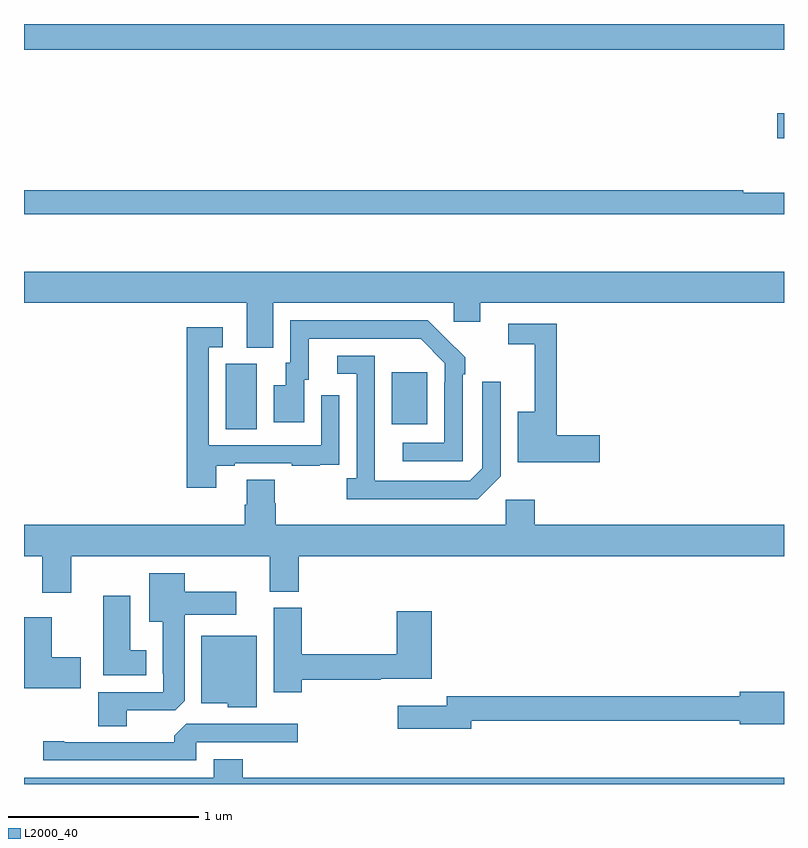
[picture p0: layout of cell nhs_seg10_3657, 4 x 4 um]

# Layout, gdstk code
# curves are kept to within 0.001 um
import gdstk
lib = gdstk.Library(unit=1e-6, precision=1e-09)
def R(c, l, rs):  # rectangles x0, y0, x1, y1
    for r in rs: c.add(gdstk.rectangle(r[:2], r[2:], *l))
def P(c, l, *ps):  # polygons
    for p in ps: c.add(gdstk.Polygon(p, *l))
L2000_40 = (2000, 40)

nhs_seg10_3657 = lib.new_cell('nhs_seg10_3657')
R(nhs_seg10_3657, L2000_40, [(312.062,1250.368,312.226,1250.712), (312.935,1250.393,313.123,1250.668), (314.964,1251.899,315,1252.029), (311,1252.364,315,1252.5)])
P(nhs_seg10_3657, L2000_40, [(315,1251.611),(314.786,1251.611),(314.786,1251.626),(311,1251.626),(311,1251.498),(315,1251.498)],
  [(312.313,1251.032),(313.263,1251.032),(313.263,1250.934),(313.402,1250.934),(313.402,1251.032),(315,1251.032),(315,1251.196),(311,1251.196),(311,1251.032),(312.173,1251.032),(312.173,1250.797),(312.313,1250.797)],
  [(313.308,1250.657),(313.323,1250.657),(313.323,1250.745),(313.126,1250.94),(312.402,1250.94),(312.402,1250.718),(312.377,1250.718),(312.377,1250.599),(312.314,1250.599),(312.314,1250.403),(312.475,1250.403),(312.475,1250.628),(312.499,1250.628),(312.499,1250.844),(313.087,1250.844),(313.215,1250.715),(313.215,1250.615),(313.212,1250.615),(313.212,1250.295),(312.993,1250.295),(312.993,1250.199),(313.308,1250.199)],
  [(314.029,1250.336),(313.805,1250.336),(313.805,1250.922),(313.548,1250.922),(313.548,1250.814),(313.688,1250.814),(313.688,1250.458),(313.598,1250.458),(313.598,1250.194),(314.029,1250.194)],
  [(312.013,1250.175),(312.109,1250.175),(312.109,1250.187),(312.409,1250.187),(312.409,1250.175),(312.557,1250.175),(312.557,1250.181),(312.659,1250.181),(312.659,1250.29),(312.66,1250.29),(312.66,1250.545),(312.564,1250.545),(312.564,1250.283),(311.973,1250.283),(311.973,1250.799),(312.046,1250.799),(312.046,1250.905),(311.857,1250.905),(311.857,1250.058),(312.013,1250.058)],
  [(313.509,1250.121),(313.509,1250.617),(313.413,1250.617),(313.413,1250.163),(313.347,1250.097),(312.847,1250.097),(312.846,1250.754),(312.648,1250.754),(312.648,1250.658),(312.75,1250.658),(312.75,1250.11),(312.699,1250.11),(312.699,1250),(313.388,1250)],
  [(311.248,1249.7),(312.293,1249.7),(312.293,1249.513),(312.446,1249.513),(312.446,1249.7),(315,1249.7),(315,1249.864),(313.688,1249.864),(313.688,1249.996),(313.536,1249.996),(313.536,1249.864),(312.326,1249.864),(312.326,1249.977),(312.321,1249.977),(312.321,1250.102),(312.173,1250.102),(312.173,1249.97),(312.161,1249.97),(312.161,1249.864),(311,1249.864),(311,1249.7),(311.096,1249.7),(311.096,1249.506),(311.248,1249.506)],
  [(311.542,1248.888),(311.796,1248.888),(311.845,1248.937),(311.845,1249.391),(312.118,1249.391),(312.118,1249.513),(311.845,1249.513),(311.845,1249.609),(311.66,1249.609),(311.66,1249.355),(311.729,1249.355),(311.729,1249.081),(311.733,1249.081),(311.733,1248.984),(311.39,1248.984),(311.39,1248.805),(311.542,1248.805)],
  [(311.644,1249.204),(311.56,1249.204),(311.56,1249.492),(311.417,1249.492),(311.417,1249.073),(311.644,1249.073)],
  [(312.461,1249.048),(312.878,1249.048),(312.878,1249.055),(313.145,1249.055),(313.145,1249.408),(312.962,1249.408),(312.962,1249.184),(312.461,1249.184),(312.461,1249.428),(312.314,1249.428),(312.314,1248.984),(312.461,1248.984)],
  [(311.299,1249.167),(311.146,1249.167),(311.146,1249.378),(311,1249.378),(311,1249.004),(311.299,1249.004)],
  [(312.226,1249.279),(311.933,1249.279),(311.933,1248.926),(312.072,1248.926),(312.072,1248.905),(312.226,1248.905)],
  [(313.354,1248.834),(314.768,1248.834),(314.768,1248.815),(315,1248.815),(315,1248.986),(314.768,1248.986),(314.768,1248.962),(313.226,1248.962),(313.226,1248.913),(312.966,1248.913),(312.966,1248.791),(313.354,1248.791)],
  [(311.907,1248.72),(312.442,1248.72),(312.442,1248.816),(311.853,1248.816),(311.792,1248.754),(311.792,1248.72),(311.212,1248.72),(311.212,1248.725),(311.1,1248.725),(311.1,1248.624),(311.907,1248.624)],
  [(315,1248.532),(312.152,1248.532),(312.152,1248.631),(311.999,1248.631),(311.999,1248.532),(311,1248.532),(311,1248.5),(315,1248.5)])

lib.write_gds('nhs_seg10_3657.gds')
